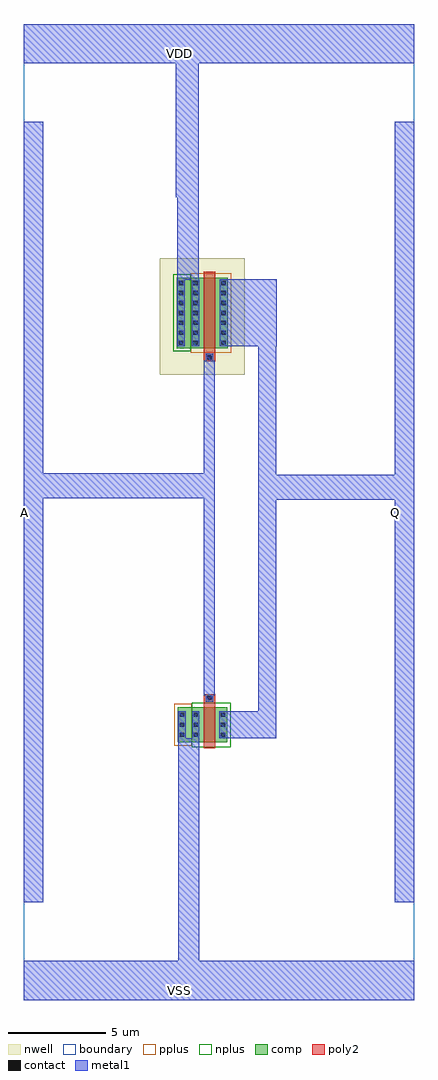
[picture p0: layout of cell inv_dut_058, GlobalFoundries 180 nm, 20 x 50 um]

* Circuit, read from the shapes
.subckt inv_dut_058 A Q VDD VSS
XM1 Q A VSS VSS nfet_03v3 w=1.8u l=0.6u
XM2 Q A VDD VDD pfet_03v3 w=3.6u l=0.6u
.ends

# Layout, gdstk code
from math import pi, radians
import gdstk
lib = gdstk.Library(unit=1e-6, precision=1e-09)
def R(c, l, rs):  # rectangles x0, y0, x1, y1
    for r in rs: c.add(gdstk.rectangle(r[:2], r[2:], *l))
def A(c, l, x, y, w, h, nx, ny, dx, dy):  # array of equal rectangles
    R(c, l, [(x+i*dx, y+j*dy, x+i*dx+w, y+j*dy+h) for i in range(nx) for j in range(ny)])
def P(c, l, *ps):  # polygons
    for p in ps: c.add(gdstk.Polygon(p, *l))
boundary = (0, 0)
nwell = (21, 0)
comp = (22, 0)
poly2 = (30, 0)
pplus = (31, 0)
nplus = (32, 0)
contact = (33, 0)
metal1 = (34, 0)

pfet = lib.new_cell('pfet')
R(pfet, nwell, [(-1.32,-0.99,3.03,4.97)])
R(pfet, comp, [(-0.46,0,2.17,3.6)])
R(pfet, poly2, [(0.19,-0.3,0.79,4.28)])
R(pfet, pplus, [(-0.63,-0.24,1.44,3.84)])
R(pfet, nplus, [(1.44,-0.17,2.34,3.77)])
A(pfet, contact, -0.34, 0.16, 0.22, 0.22, 1, 7, 0, 0.51)
A(pfet, contact, 1.1, 0.16, 0.22, 0.22, 1, 7, 0, 0.51)
A(pfet, contact, 1.83, 0.16, 0.22, 0.22, 1, 7, 0, 0.51)
R(pfet, contact, [(0.38,3.98,0.6,4.2)])
R(pfet, metal1, [(-0.42,0.08,-0.04,3.52), (1.02,0.08,1.4,3.52), (1.75,0.08,2.13,3.52), (0.3,3.9,0.68,4.28)])

nfet = lib.new_cell('nfet')
R(nfet, comp, [(-0.42,0,2.11,1.8)])
R(nfet, poly2, [(0.19,-0.66,0.79,2.1)])
R(nfet, pplus, [(1.4,-0.17,2.28,1.97)])
R(nfet, nplus, [(-0.59,-0.24,1.4,2.04)])
A(nfet, contact, -0.32, 0.28, 0.22, 0.22, 1, 3, 0, 0.51)
A(nfet, contact, 1.08, 0.28, 0.22, 0.22, 1, 3, 0, 0.51)
A(nfet, contact, 1.79, 0.28, 0.22, 0.22, 1, 3, 0, 0.51)
R(nfet, contact, [(0.38,-0.59,0.6,-0.37)])
R(nfet, metal1, [(0.3,-0.67,0.68,-0.29), (-0.4,0.2,-0.02,1.6), (1,0.2,1.38,1.6), (1.71,0.2,2.09,1.6)])

inv_dut_058 = lib.new_cell('inv_dut_058')
R(inv_dut_058, boundary, [(-10,-25,10,25)])
R(inv_dut_058, metal1, [(-10,-25,10,-23), (-2.075,-23.39,-1.01,-11.58), (-10,-20,-9,20), (9,-20,10,20), (0.365,-11.585,2.945,-10.2), (-0.77,-9.375,-0.22,7.74), (2.405,0.62,9.61,1.9), (-9.61,0.7,-0.27,1.975), (0.395,8.5,2.95,11.92), (-10,23,10,25)])
P(inv_dut_058, metal1, [(-2.13,11.91),(-2.13,16.12),(-2.205,16.12),(-2.205,23.61),(-1.025,23.61),(-1.025,11.91)],
  [(2.015,-11.555),(2.015,10.695),(2.945,10.695),(2.945,-11.555),(2.685,-11.555)])
inv_dut_058.add(gdstk.Reference(pfet, (0,12), rotation=pi))
inv_dut_058.add(gdstk.Reference(nfet, (0,-10), rotation=pi))
inv_dut_058.add(gdstk.Label('VDD', (-2,23.5), layer=34, texttype=10))
inv_dut_058.add(gdstk.Label('VSS', (-2,-24.5), layer=34, texttype=10))
inv_dut_058.add(gdstk.Label('A', (-9.97,0), layer=34, texttype=10))
inv_dut_058.add(gdstk.Label('Q', (9.03,0), layer=34, texttype=10))

lib.write_gds('inv_dut_058.gds')
